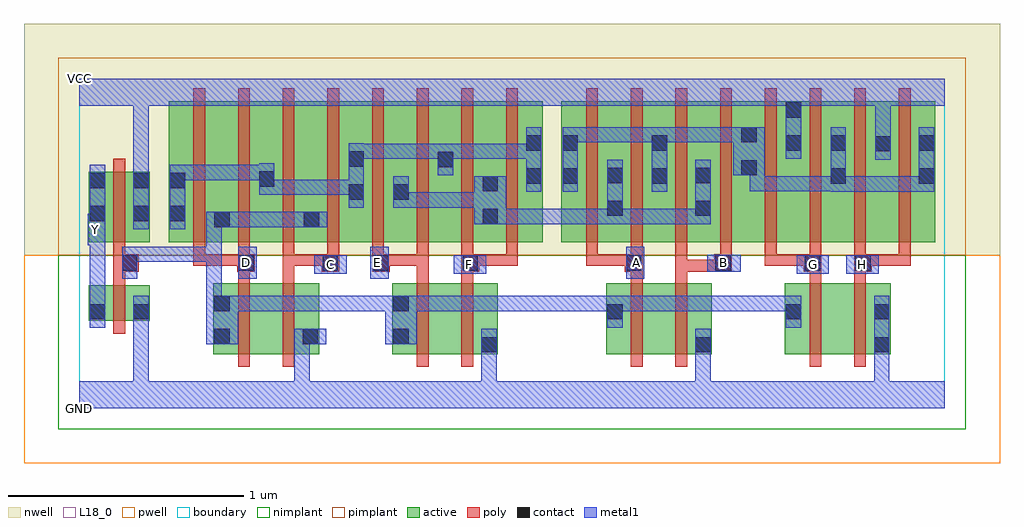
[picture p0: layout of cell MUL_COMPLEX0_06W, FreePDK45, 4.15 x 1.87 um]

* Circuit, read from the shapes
.subckt MUL_COMPLEX0_06W A B C D E F G GND H VCC Y
M1 GND n1 Y VSUBS nfet w=0.15u l=0.05u
M2 n2 D n1 VSUBS nfet w=0.3u l=0.05u
M3 GND C n2 VSUBS nfet w=0.3u l=0.05u
M4 n3 E n1 VSUBS nfet w=0.3u l=0.05u
M5 GND F n3 VSUBS nfet w=0.3u l=0.05u
M6 n4 A n1 VSUBS nfet w=0.3u l=0.05u
M7 GND B n4 VSUBS nfet w=0.3u l=0.05u
M8 n5 G n1 VSUBS nfet w=0.3u l=0.05u
M9 GND H n5 VSUBS nfet w=0.3u l=0.05u
M10 VCC n1 Y n6 pfet w=0.3u l=0.05u
M11 n1 D n7 n6 pfet w=0.6u l=0.05u m=2
M12 n1 C n7 n6 pfet w=0.6u l=0.05u m=2
M13 n8 E n7 n6 pfet w=0.6u l=0.05u m=2
M14 n8 F n7 n6 pfet w=0.6u l=0.05u m=2
M15 n8 A n9 n6 pfet w=0.6u l=0.05u m=2
M16 n8 B n9 n6 pfet w=0.6u l=0.05u m=2
M17 VCC G n9 n6 pfet w=0.6u l=0.05u m=2
M18 VCC H n9 n6 pfet w=0.6u l=0.05u m=2
.ends

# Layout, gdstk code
import gdstk
lib = gdstk.Library(unit=1e-6, precision=1e-09)
def R(c, l, rs):  # rectangles x0, y0, x1, y1
    for r in rs: c.add(gdstk.rectangle(r[:2], r[2:], *l))
def A(c, l, x, y, w, h, nx, ny, dx, dy):  # array of equal rectangles
    R(c, l, [(x+i*dx, y+j*dy, x+i*dx+w, y+j*dy+h) for i in range(nx) for j in range(ny)])
active = (1, 0)
pwell = (2, 0)
nwell = (3, 0)
nimplant = (4, 0)
pimplant = (5, 0)
poly = (9, 0)
contact = (10, 0)
metal1 = (11, 0)
L18_0 = (18, 0)
boundary = (235, 0)

mul_complex0_06w = lib.new_cell('MUL_COMPLEX0_06W')
A(mul_complex0_06w, active, 0.38, 0.705, 0.265, 0.6, 7, 1, 0.19, 0)
A(mul_complex0_06w, active, 2.81, 0.705, 0.265, 0.6, 3, 1, 0.19, 0)
R(mul_complex0_06w, active, [(0.57,0.23,0.795,0.53), (0.795,0.23,1.02,0.53), (0.945,0.23,1.02,0.53), (1.33,0.23,1.405,0.53), (1.33,0.23,1.555,0.53), (1.555,0.23,1.78,0.53), (1.705,0.23,1.78,0.53), (2.24,0.23,2.315,0.53), (2.24,0.23,2.465,0.53), (2.465,0.23,2.69,0.53), (2.615,0.23,2.69,0.53), (3,0.23,3.075,0.53), (3,0.23,3.225,0.53), (3.225,0.23,3.45,0.53), (3.375,0.23,3.45,0.53), (0.57,0.232,0.645,0.53), (0.04,0.372,0.115,0.522), (0.04,0.372,0.3,0.522), (0.225,0.372,0.3,0.522), (0.04,0.705,0.115,1.005), (0.04,0.705,0.3,1.005), (0.225,0.705,0.3,1.005), (0.38,0.705,0.455,1.2), (1.33,0.705,1.405,1.07), (1.52,0.705,1.595,1.2), (1.71,0.705,1.97,1.305), (1.71,0.705,1.785,1.07), (1.895,0.705,1.97,1.2), (2.05,0.705,2.125,1.2), (2.05,0.705,2.315,1.305), (2.24,0.705,2.505,1.305), (2.43,0.705,2.69,1.305), (2.615,0.705,2.885,1.305), (3.19,0.705,3.265,1.2), (3.38,0.705,3.64,1.305), (3.38,0.705,3.455,1.305), (3.565,0.705,3.64,1.2), (0.57,0.707,0.645,1.07), (0.76,0.707,0.835,1.2), (0.95,0.707,1.025,1.07), (1.14,0.707,1.215,1.2), (2.24,0.707,2.315,1.07), (2.43,0.707,2.505,1.2), (2.615,0.707,2.69,1.07), (2.81,0.707,2.885,1.2), (3,0.707,3.075,1.305)])
R(mul_complex0_06w, pwell, [(-0.235,-0.235,3.915,0.65)])
R(mul_complex0_06w, nwell, [(-0.235,0.65,3.915,1.635)])
R(mul_complex0_06w, nimplant, [(-0.09,-0.09,3.77,0.65)])
R(mul_complex0_06w, pimplant, [(-0.09,0.65,3.77,1.49)])
A(mul_complex0_06w, poly, 2.32, 0.58, 0.075, 0.075, 3, 1, 0.38, 0)
A(mul_complex0_06w, poly, 0.485, 0.605, 0.05, 0.095, 8, 1, 0.19, 0)
A(mul_complex0_06w, poly, 2.725, 0.605, 0.05, 0.095, 5, 1, 0.19, 0)
A(mul_complex0_06w, poly, 0.485, 0.65, 0.05, 0.71, 8, 1, 0.19, 0)
A(mul_complex0_06w, poly, 2.155, 0.65, 0.05, 0.71, 8, 1, 0.19, 0)
R(mul_complex0_06w, poly, [(0.675,0.175,0.725,0.585), (0.865,0.175,0.915,0.585), (1.435,0.175,1.485,0.585), (1.625,0.175,1.675,0.585), (2.345,0.175,2.395,0.585), (2.535,0.175,2.585,0.585), (3.105,0.175,3.155,0.585), (3.295,0.175,3.345,0.585), (0.145,0.317,0.195,0.577), (0.145,0.527,0.195,0.63), (0.675,0.535,0.725,0.63), (0.865,0.535,0.915,0.655), (1.435,0.535,1.485,0.655), (1.625,0.535,1.675,0.63), (2.345,0.535,2.395,0.63), (2.535,0.535,2.585,0.63), (3.105,0.535,3.155,0.63), (3.295,0.535,3.345,0.63), (0.145,0.58,0.252,0.655), (0.672,0.58,0.747,0.655), (1.03,0.58,1.105,0.655), (1.245,0.58,1.32,0.655), (1.625,0.58,1.7,0.655), (2.535,0.58,2.585,0.63), (2.535,0.58,2.75,0.63), (2.535,0.58,2.585,0.7), (2.7,0.58,2.75,0.63), (2.7,0.58,2.75,0.63), (3.295,0.58,3.37,0.655), (0.145,0.605,0.195,0.7), (0.485,0.605,0.535,0.655), (0.485,0.605,0.722,0.655), (0.672,0.605,0.722,0.655), (0.672,0.605,0.722,0.655), (0.865,0.605,0.915,0.655), (0.865,0.605,1.08,0.655), (1.03,0.605,1.08,0.655), (1.03,0.605,1.08,0.655), (1.27,0.605,1.485,0.655), (1.435,0.605,1.485,0.655), (1.435,0.605,1.485,0.655), (1.435,0.605,1.485,0.655), (1.65,0.605,1.865,0.655), (1.815,0.605,1.865,0.655), (1.815,0.605,1.865,0.655), (1.815,0.605,1.865,0.655), (2.155,0.605,2.205,0.7), (2.155,0.605,2.205,0.655), (2.155,0.605,2.37,0.655), (2.32,0.605,2.37,0.655), (2.32,0.605,2.37,0.655), (2.345,0.605,2.395,0.7), (2.915,0.605,2.965,0.655), (2.915,0.605,3.13,0.655), (3.08,0.605,3.13,0.655), (3.08,0.605,3.13,0.655), (3.32,0.605,3.535,0.655), (3.485,0.605,3.535,0.655), (3.485,0.605,3.535,0.655), (3.485,0.605,3.535,0.655), (0.145,0.65,0.195,1.06)])
A(mul_complex0_06w, contact, 2.325, 0.585, 0.065, 0.065, 3, 1, 0.38, 0)
R(mul_complex0_06w, contact, [(1.71,0.237,1.775,0.302), (2.62,0.237,2.685,0.302), (3.38,0.237,3.445,0.302), (0.575,0.272,0.64,0.337), (0.95,0.272,1.015,0.337), (1.335,0.272,1.4,0.337), (0.045,0.377,0.11,0.442), (0.23,0.377,0.295,0.442), (2.245,0.377,2.31,0.442), (3.005,0.377,3.07,0.442), (3.38,0.377,3.445,0.442), (0.575,0.412,0.64,0.477), (1.335,0.412,1.4,0.477), (0.182,0.585,0.247,0.65), (0.677,0.585,0.742,0.65), (1.035,0.585,1.1,0.65), (1.25,0.585,1.315,0.65), (1.63,0.585,1.695,0.65), (3.3,0.585,3.365,0.65), (0.575,0.77,0.64,0.835), (0.955,0.77,1.02,0.835), (1.715,0.782,1.78,0.847), (0.045,0.795,0.11,0.86), (0.23,0.795,0.295,0.86), (0.385,0.795,0.45,0.86), (2.245,0.817,2.31,0.882), (2.62,0.817,2.685,0.882), (1.145,0.887,1.21,0.952), (1.335,0.887,1.4,0.952), (1.715,0.922,1.78,0.987), (0.045,0.935,0.11,1), (0.23,0.935,0.295,1), (0.385,0.935,0.45,1), (0.765,0.942,0.83,1.007), (1.9,0.955,1.965,1.02), (2.055,0.955,2.12,1.02), (2.435,0.955,2.5,1.02), (3.195,0.955,3.26,1.02), (3.57,0.955,3.635,1.02), (2.245,0.957,2.31,1.022), (2.62,0.957,2.685,1.022), (2.815,0.99,2.88,1.055), (1.525,1.025,1.59,1.09), (1.145,1.027,1.21,1.092), (3.385,1.092,3.45,1.157), (1.9,1.095,1.965,1.16), (2.055,1.095,2.12,1.16), (2.435,1.095,2.5,1.16), (3.005,1.095,3.07,1.16), (3.195,1.095,3.26,1.16), (3.57,1.095,3.635,1.16), (2.815,1.13,2.88,1.195), (3.005,1.235,3.07,1.3)])
R(mul_complex0_06w, metal1, [(0,0,3.68,0.115), (0.23,0.05,0.295,0.115), (0.23,0.05,0.295,0.115), (0.23,0.05,0.295,0.407), (0.915,0.05,0.98,0.115), (0.915,0.05,0.98,0.115), (0.915,0.05,0.98,0.115), (0.915,0.05,0.98,0.115), (0.915,0.05,0.98,0.337), (1.71,0.05,1.775,0.115), (1.71,0.05,1.775,0.115), (1.71,0.05,1.775,0.115), (1.71,0.05,1.775,0.115), (1.71,0.05,1.775,0.267), (2.62,0.05,2.685,0.115), (2.62,0.05,2.685,0.115), (2.62,0.05,2.685,0.115), (2.62,0.05,2.685,0.115), (2.62,0.05,2.685,0.267), (3.38,0.05,3.445,0.115), (3.38,0.05,3.445,0.115), (3.38,0.05,3.445,0.115), (3.38,0.05,3.445,0.115), (3.38,0.05,3.445,0.267), (1.71,0.202,1.775,0.337), (2.62,0.202,2.685,0.337), (3.38,0.202,3.445,0.477), (0.54,0.272,0.675,0.477), (0.915,0.272,1.05,0.337), (1.3,0.272,1.435,0.477), (0.045,0.342,0.11,0.477), (0.23,0.342,0.295,0.407), (0.23,0.342,0.295,0.407), (0.23,0.342,0.295,0.407), (0.23,0.342,0.295,0.407), (0.23,0.342,0.295,0.477), (2.245,0.342,2.31,0.477), (3.005,0.342,3.07,0.477), (0.045,0.412,0.11,0.757), (0.54,0.412,0.605,0.687), (0.61,0.412,0.742,0.477), (0.677,0.412,0.742,0.477), (0.677,0.412,0.842,0.477), (0.777,0.412,0.842,0.477), (0.777,0.412,0.88,0.477), (0.815,0.412,0.88,0.477), (0.815,0.412,0.98,0.477), (0.915,0.412,0.98,0.477), (0.915,0.412,1.017,0.477), (0.952,0.412,1.017,0.477), (0.952,0.412,1.155,0.477), (1.09,0.412,1.155,0.477), (1.09,0.412,1.155,0.477), (1.09,0.412,1.155,0.477), (1.09,0.412,1.365,0.477), (1.37,0.412,1.435,0.477), (1.37,0.412,1.435,0.477), (1.37,0.412,1.59,0.477), (1.525,0.412,1.59,0.477), (1.525,0.412,1.59,0.477), (1.525,0.412,1.59,0.477), (1.525,0.412,1.827,0.477), (1.762,0.412,1.827,0.477), (1.762,0.412,1.827,0.477), (1.762,0.412,1.827,0.477), (1.762,0.412,1.965,0.477), (1.9,0.412,1.965,0.477), (1.9,0.412,2.102,0.477), (2.037,0.412,2.102,0.477), (2.037,0.412,2.102,0.477), (2.037,0.412,2.102,0.477), (2.037,0.412,2.31,0.477), (2.245,0.412,2.31,0.477), (2.245,0.412,2.31,0.477), (2.245,0.412,2.5,0.477), (2.435,0.412,2.5,0.477), (2.435,0.412,2.5,0.477), (2.435,0.412,2.5,0.477), (2.435,0.412,2.707,0.477), (2.642,0.412,2.707,0.477), (2.642,0.412,2.707,0.477), (2.642,0.412,2.707,0.477), (2.642,0.412,2.845,0.477), (2.78,0.412,2.845,0.477), (2.78,0.412,2.845,0.477), (2.78,0.412,2.845,0.477), (2.78,0.412,3.07,0.477), (0.182,0.55,0.247,0.687), (0.677,0.55,0.755,0.687), (1.237,0.55,1.315,0.687), (2.325,0.55,2.402,0.687), (1,0.572,1.137,0.65), (1.592,0.572,1.73,0.65), (3.05,0.572,3.187,0.65), (3.262,0.572,3.4,0.65), (2.67,0.58,2.812,0.652), (0.182,0.622,0.385,0.687), (0.32,0.622,0.385,0.687), (0.32,0.622,0.385,0.687), (0.32,0.622,0.385,0.687), (0.32,0.622,0.605,0.687), (0.54,0.622,0.605,0.687), (0.54,0.622,0.605,0.687), (0.54,0.622,0.605,0.687), (0.54,0.622,0.605,0.835), (0.037,0.692,0.11,0.827), (0.045,0.76,0.11,0.825), (0.045,0.76,0.11,1.035), (0.23,0.76,0.295,1.035), (0.385,0.76,0.45,1.035), (0.54,0.77,0.675,0.835), (0.61,0.77,0.742,0.835), (0.677,0.77,0.742,0.835), (0.677,0.77,0.842,0.835), (0.777,0.77,0.842,0.835), (0.777,0.77,0.88,0.835), (0.815,0.77,0.88,0.835), (0.815,0.77,0.985,0.835), (0.92,0.77,1.055,0.835), (1.68,0.782,1.815,0.987), (1.75,0.782,1.815,0.847), (1.75,0.782,1.815,0.847), (1.75,0.782,1.965,0.847), (1.9,0.782,1.965,0.847), (1.9,0.782,1.965,0.847), (1.9,0.782,1.965,0.847), (1.9,0.782,2.102,0.847), (2.037,0.782,2.102,0.847), (2.037,0.782,2.31,0.847), (2.245,0.782,2.31,0.847), (2.245,0.782,2.31,0.847), (2.245,0.782,2.31,1.057), (2.245,0.782,2.5,0.847), (2.435,0.782,2.5,0.847), (2.435,0.782,2.5,0.847), (2.435,0.782,2.5,0.847), (2.435,0.782,2.685,0.847), (2.62,0.782,2.685,1.057), (1.145,0.852,1.21,1.127), (1.335,0.852,1.4,0.917), (1.335,0.852,1.4,0.917), (1.335,0.852,1.4,0.987), (1.335,0.852,1.59,0.917), (1.525,0.852,1.59,0.917), (1.525,0.852,1.59,0.917), (1.525,0.852,1.59,0.917), (1.525,0.852,1.745,0.917), (0.765,0.907,0.83,1.042), (0.765,0.907,0.88,0.972), (0.815,0.907,0.88,0.972), (0.815,0.907,1.017,0.972), (0.952,0.907,1.017,0.972), (0.952,0.907,1.017,0.972), (0.952,0.907,1.017,0.972), (0.952,0.907,1.21,0.972), (1.9,0.92,1.965,1.195), (2.055,0.92,2.12,1.195), (2.435,0.92,2.5,1.195), (3.195,0.92,3.26,1.195), (3.195,0.92,3.497,0.985), (3.432,0.92,3.497,0.985), (3.432,0.92,3.497,0.985), (3.432,0.92,3.497,0.985), (3.432,0.92,3.635,0.985), (3.57,0.92,3.635,0.985), (3.57,0.92,3.635,0.985), (3.57,0.92,3.635,1.195), (2.85,0.922,2.915,0.987), (2.85,0.922,2.915,0.987), (2.85,0.922,2.915,0.987), (2.85,0.922,3.122,0.987), (2.85,0.922,2.915,1.055), (3.057,0.922,3.122,0.987), (3.057,0.922,3.122,0.987), (3.057,0.922,3.122,0.987), (3.057,0.922,3.26,0.987), (0.23,0.97,0.295,1.035), (0.23,0.97,0.295,1.035), (0.23,0.97,0.295,1.35), (0.385,0.97,0.587,1.035), (0.522,0.97,0.587,1.035), (0.522,0.97,0.587,1.035), (0.522,0.97,0.587,1.035), (0.522,0.97,0.742,1.035), (0.677,0.97,0.742,1.035), (0.677,0.97,0.83,1.035), (1.525,0.99,1.59,1.125), (2.78,0.99,2.915,1.195), (3.385,1.057,3.45,1.192), (1.145,1.06,1.21,1.125), (1.145,1.06,1.21,1.125), (1.145,1.06,1.452,1.125), (1.387,1.06,1.452,1.125), (1.387,1.06,1.452,1.125), (1.387,1.06,1.452,1.125), (1.387,1.06,1.59,1.125), (1.525,1.06,1.59,1.125), (1.525,1.06,1.59,1.125), (1.525,1.06,1.827,1.125), (1.762,1.06,1.827,1.125), (1.762,1.06,1.827,1.125), (1.762,1.06,1.827,1.125), (1.762,1.06,1.965,1.125), (3.005,1.06,3.07,1.335), (3.385,1.127,3.45,1.35), (2.055,1.13,2.12,1.195), (2.055,1.13,2.12,1.195), (2.055,1.13,2.362,1.195), (2.297,1.13,2.362,1.195), (2.297,1.13,2.362,1.195), (2.297,1.13,2.362,1.195), (2.297,1.13,2.5,1.195), (2.435,1.13,2.5,1.195), (2.435,1.13,2.5,1.195), (2.435,1.13,2.707,1.195), (2.642,1.13,2.707,1.195), (2.642,1.13,2.707,1.195), (2.642,1.13,2.707,1.195), (2.642,1.13,2.845,1.195), (3.005,1.27,3.07,1.35), (0,1.285,3.68,1.4), (0.23,1.285,0.295,1.35), (0.23,1.285,0.295,1.35)])
R(mul_complex0_06w, L18_0, [(0,0,3.68,0.115), (0.23,0.05,0.295,0.115), (0.23,0.05,0.295,0.115), (0.23,0.05,0.295,0.407), (0.915,0.05,0.98,0.115), (0.915,0.05,0.98,0.115), (0.915,0.05,0.98,0.115), (0.915,0.05,0.98,0.115), (0.915,0.05,0.98,0.337), (1.71,0.05,1.775,0.115), (1.71,0.05,1.775,0.115), (1.71,0.05,1.775,0.115), (1.71,0.05,1.775,0.115), (1.71,0.05,1.775,0.267), (2.62,0.05,2.685,0.115), (2.62,0.05,2.685,0.115), (2.62,0.05,2.685,0.115), (2.62,0.05,2.685,0.115), (2.62,0.05,2.685,0.267), (3.38,0.05,3.445,0.115), (3.38,0.05,3.445,0.115), (3.38,0.05,3.445,0.115), (3.38,0.05,3.445,0.115), (3.38,0.05,3.445,0.267), (1.71,0.202,1.775,0.337), (2.62,0.202,2.685,0.337), (3.38,0.202,3.445,0.477), (0.915,0.272,1.05,0.337), (0.045,0.342,0.11,0.477), (0.23,0.342,0.295,0.477), (0.23,0.342,0.295,0.407), (0.23,0.342,0.295,0.407), (0.23,0.342,0.295,0.407), (0.23,0.342,0.295,0.407), (0.045,0.412,0.11,0.757), (0.677,0.55,0.755,0.687), (1.237,0.55,1.315,0.687), (2.325,0.55,2.402,0.687), (1,0.572,1.137,0.65), (1.592,0.572,1.73,0.65), (3.05,0.572,3.187,0.65), (3.262,0.572,3.4,0.65), (1.037,0.577,1.102,0.642), (1.627,0.577,1.692,0.642), (3.087,0.577,3.152,0.642), (3.297,0.577,3.362,0.642), (2.67,0.58,2.812,0.652), (0.677,0.587,0.742,0.652), (1.237,0.587,1.302,0.652), (2.337,0.587,2.402,0.652), (2.707,0.587,2.772,0.652), (0.037,0.692,0.11,0.827), (0.037,0.727,0.102,0.792), (0.045,0.76,0.11,1.035), (0.045,0.76,0.11,0.825), (0.23,0.76,0.295,1.035), (0.23,0.97,0.295,1.035), (0.23,0.97,0.295,1.035), (0.23,0.97,0.295,1.35), (3.385,1.057,3.45,1.192), (3.005,1.06,3.07,1.335), (3.385,1.127,3.45,1.35), (3.005,1.27,3.07,1.35), (0,1.285,3.68,1.4), (0.23,1.285,0.295,1.35), (0.23,1.285,0.295,1.35)])
R(mul_complex0_06w, boundary, [(0,0,3.68,1.4)])
mul_complex0_06w.add(gdstk.Label('A', (2.37,0.62), layer=11, texttype=0))
mul_complex0_06w.add(gdstk.Label('B', (2.74,0.62), layer=11, texttype=0))
mul_complex0_06w.add(gdstk.Label('C', (1.07,0.61), layer=11, texttype=0))
mul_complex0_06w.add(gdstk.Label('D', (0.71,0.62), layer=11, texttype=0))
mul_complex0_06w.add(gdstk.Label('E', (1.27,0.62), layer=11, texttype=0))
mul_complex0_06w.add(gdstk.Label('F', (1.66,0.61), layer=11, texttype=0))
mul_complex0_06w.add(gdstk.Label('G', (3.12,0.61), layer=11, texttype=0))
mul_complex0_06w.add(gdstk.Label('H', (3.33,0.61), layer=11, texttype=0))
mul_complex0_06w.add(gdstk.Label('Y', (0.07,0.76), layer=11, texttype=0))
mul_complex0_06w.add(gdstk.Label('VCC', (0,1.4), layer=11, texttype=0))
mul_complex0_06w.add(gdstk.Label('GND', (0,0), layer=11, texttype=0))

lib.write_gds('MUL_COMPLEX0_06W.gds')
